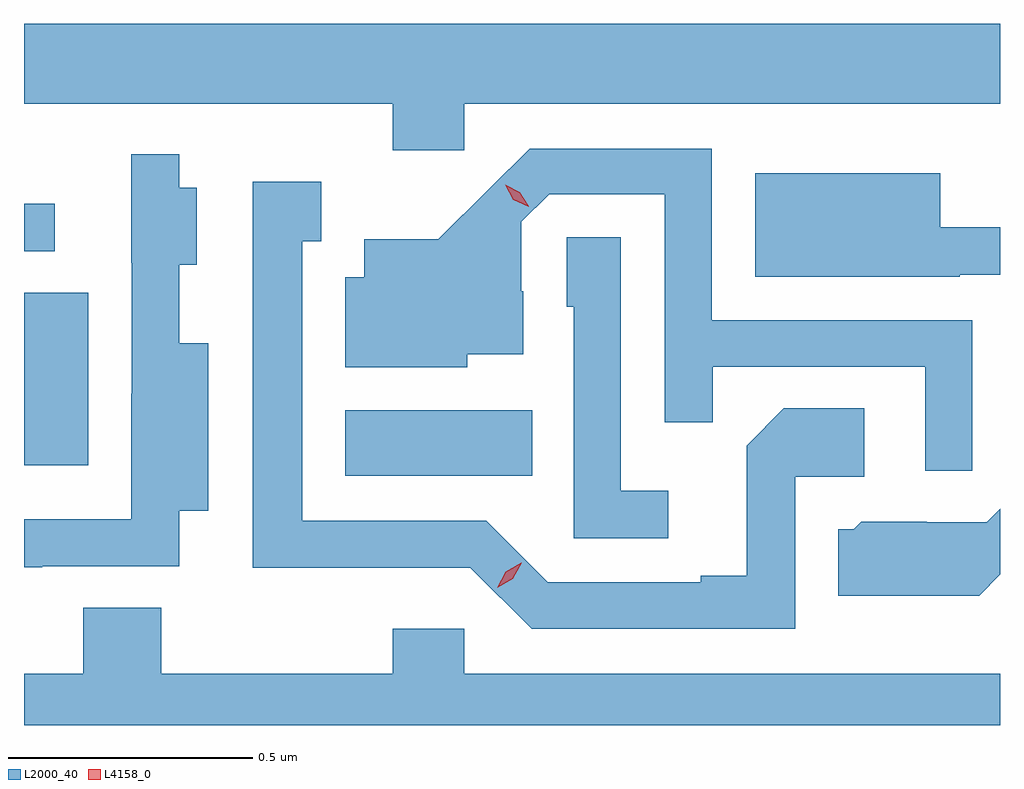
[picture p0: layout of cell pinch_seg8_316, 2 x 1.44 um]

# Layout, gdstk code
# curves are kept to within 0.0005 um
import gdstk
lib = gdstk.Library(unit=1e-6, precision=1e-09)
def R(c, l, rs):  # rectangles x0, y0, x1, y1
    for r in rs: c.add(gdstk.rectangle(r[:2], r[2:], *l))
def P(c, l, *ps):  # polygons
    for p in ps: c.add(gdstk.Polygon(p, *l))
L2000_40 = (2000, 40)
L4158_0 = (4158, 0)

pinch_seg8_316 = lib.new_cell('pinch_seg8_316')
R(pinch_seg8_316, L2000_40, [(514.328,1153.034,514.712,1153.168), (513.67,1153.056,513.802,1153.409), (513.67,1153.494,513.733,1153.591)])
P(pinch_seg8_316, L2000_40, [(514.572,1153.796),(515.67,1153.796),(515.67,1153.96),(513.67,1153.96),(513.67,1153.796),(514.426,1153.796),(514.426,1153.701),(514.572,1153.701)],
  [(515.613,1153.353),(515.079,1153.353),(515.079,1153.704),(514.706,1153.704),(514.519,1153.519),(514.367,1153.519),(514.367,1153.441),(514.328,1153.441),(514.328,1153.256),(514.578,1153.256),(514.578,1153.283),(514.693,1153.283),(514.693,1153.412),(514.689,1153.412),(514.689,1153.554),(514.746,1153.611),(514.983,1153.611),(514.983,1153.144),(515.081,1153.144),(515.081,1153.257),(515.517,1153.257),(515.517,1153.044),(515.613,1153.044)],
  [(513.707,1152.849),(513.988,1152.849),(513.988,1152.962),(514.048,1152.962),(514.048,1153.306),(513.988,1153.306),(513.988,1153.466),(514.024,1153.466),(514.024,1153.624),(513.988,1153.624),(513.988,1153.693),(513.89,1153.693),(513.89,1153.47),(513.891,1153.47),(513.891,1153.202),(513.89,1153.202),(513.89,1152.945),(513.67,1152.945),(513.67,1152.847),(513.707,1152.847)],
  [(515.588,1153.446),(515.67,1153.446),(515.67,1153.543),(515.548,1153.543),(515.548,1153.654),(515.168,1153.654),(515.168,1153.442),(515.588,1153.442)],
  [(515.25,1153.032),(515.392,1153.032),(515.392,1153.172),(515.227,1153.172),(515.151,1153.096),(515.151,1152.829),(515.057,1152.829),(515.057,1152.816),(514.743,1152.816),(514.617,1152.942),(514.24,1152.942),(514.24,1153.515),(514.279,1153.515),(514.279,1153.636),(514.139,1153.636),(514.139,1152.845),(514.362,1152.845),(514.362,1152.846),(514.584,1152.846),(514.71,1152.72),(515.25,1152.72)],
  [(514.99,1153.003),(514.893,1153.003),(514.893,1153.523),(514.782,1153.523),(514.782,1153.38),(514.797,1153.38),(514.797,1152.906),(514.99,1152.906)],
  [(515.67,1152.832),(515.67,1152.966),(515.643,1152.939),(515.52,1152.939),(515.52,1152.94),(515.386,1152.94),(515.37,1152.924),(515.339,1152.924),(515.339,1152.788),(515.627,1152.788)],
  [(515.67,1152.628),(514.572,1152.628),(514.572,1152.721),(514.426,1152.721),(514.426,1152.628),(513.951,1152.628),(513.951,1152.764),(513.791,1152.764),(513.791,1152.628),(513.67,1152.628),(513.67,1152.523),(515.67,1152.523)])
P(pinch_seg8_316, L4158_0, [(514.704,1153.585),(514.673,1153.6),(514.656,1153.63),(514.656,1153.63),(514.656,1153.63),(514.686,1153.615),(514.704,1153.586),(514.704,1153.585)],
  [(514.64,1152.805),(514.64,1152.805),(514.657,1152.837),(514.689,1152.856),(514.69,1152.856),(514.69,1152.856),(514.672,1152.823),(514.64,1152.805)])

lib.write_gds('pinch_seg8_316.gds')
